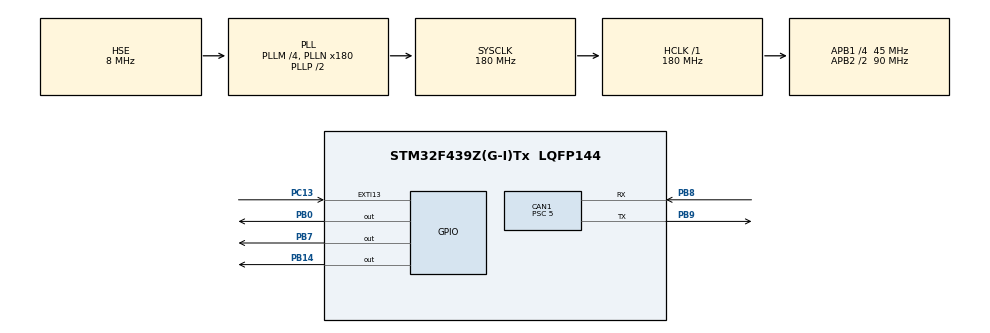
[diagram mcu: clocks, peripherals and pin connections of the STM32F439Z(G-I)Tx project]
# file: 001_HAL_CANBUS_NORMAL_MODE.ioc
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CAN1.ABOM=ENABLE
CAN1.BS1=CAN_BS1_15TQ
CAN1.BS2=CAN_BS2_2TQ
CAN1.CalculateBaudRate=500000
CAN1.CalculateTimeBit=1999.99
CAN1.CalculateTimeQuantum=111.11111111111111
CAN1.NART=ENABLE
CAN1.Prescaler=5
Mcu.Family=STM32F4
Mcu.Name=STM32F439Z(G-I)Tx
Mcu.Package=LQFP144
NVIC.EXTI15_10_IRQn=true\:0\:0\:false\:false\:true\:true\:true
NVIC.PriorityGroup=NVIC_PRIORITYGROUP_4
NVIC.TIM8_TRG_COM_TIM14_IRQn=true\:15\:0\:false\:false\:true\:false\:true
NVIC.TimeBase=TIM8_TRG_COM_TIM14_IRQn
NVIC.TimeBaseIP=TIM14
PB0.Signal=GPIO_Output
PB14.Signal=GPIO_Output
PB7.Signal=GPIO_Output
PB8.Mode=CAN_Activate
PB8.Signal=CAN1_RX
PB9.Mode=CAN_Activate
PB9.Signal=CAN1_TX
PC13.Signal=GPXTI13
PH0/OSC_IN.Mode=HSE-External-Oscillator
PH0/OSC_IN.Signal=RCC_OSC_IN
PH1/OSC_OUT.Mode=HSE-External-Oscillator
PH1/OSC_OUT.Signal=RCC_OSC_OUT
ProjectManager.HeapSize=0x200
ProjectManager.StackSize=0x400
ProjectManager.TargetToolchain=TrueSTUDIO
RCC.48MHZClocksFreq_Value=51428571.428571425
RCC.AHBFreq_Value=180000000
RCC.APB1CLKDivider=RCC_HCLK_DIV4
RCC.APB1Freq_Value=45000000
RCC.APB1TimFreq_Value=90000000
RCC.APB2CLKDivider=RCC_HCLK_DIV2
RCC.APB2Freq_Value=90000000
RCC.APB2TimFreq_Value=180000000
RCC.CortexFreq_Value=180000000
RCC.HCLKFreq_Value=180000000
RCC.HSE_VALUE=8000000
RCC.HSI_VALUE=16000000
RCC.LSE_VALUE=32768
RCC.PLLM=4
RCC.PLLMUL=RCC_PLL_MUL9
RCC.PLLN=180
RCC.PLLQ=7
RCC.PLLSourceVirtual=RCC_PLLSOURCE_HSE
RCC.PRESCALERUSB=RCC_USBCLKSOURCE_PLL_DIV1_5
RCC.SYSCLKFreq_VALUE=180000000
RCC.SYSCLKSource=RCC_SYSCLKSOURCE_PLLCLK
RCC.SYSCLKSourceVirtual=RCC_SYSCLKSOURCE_PLLCLK
RCC.USBFreq_Value=48000000
RCC.VCOOutputFreq_Value=360000000
VP_SYS_VS_tim14.Mode=TIM14
board=NUCLEO-F439ZI

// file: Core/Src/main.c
/* USER CODE BEGIN Header */
/**
  ******************************************************************************
  * @file           : main.c
  * @brief          : Main program body
  ******************************************************************************
  * @attention
  *
  * <h2><center>&copy; Copyright (c) 2021 STMicroelectronics.
  * All rights reserved.</center></h2>
  *
  * This software component is licensed by ST under BSD 3-Clause license,
  * the "License"; You may not use this file except in compliance with the
  * License. You may obtain a copy of the License at:
  *                        opensource.org/licenses/BSD-3-Clause
  *
  ******************************************************************************
  */
/* USER CODE END Header */
#include "main.h"

CAN_HandleTypeDef hcan1;

/* USER CODE BEGIN PV */
uint8_t TxData[8];
uint8_t RxData[8];
uint8_t count = 0;
/* USER CODE END PV */

void SystemClock_Config(void);
static void MX_GPIO_Init(void);
static void MX_CAN1_Init(void);
/* USER CODE BEGIN PFP */
void CAN1_Tx(uint32_t IDE, uint32_t StdId, uint32_t ExtId, uint32_t RTR, uint32_t DLC, uint8_t TxData[8]);
void CAN_Start(CAN_HandleTypeDef *hcan);
void CAN1_Rx(uint32_t RxFifo);
void CAN1_FilterConfig(uint32_t FilterActivation, uint32_t FilterBank, uint32_t FilterFIFOAssignment, uint32_t FilterMode, uint32_t FilterScale, uint32_t SlaveStartFilterBank, uint32_t FilterIdHigh, uint32_t FilterIdLow, uint32_t FilterMaskIdHigh, uint32_t FilterMaskIdLow);
/* USER CODE END PFP */

int main(void)
{

  /* MCU Configuration--------------------------------------------------------*/

  /* Reset of all peripherals, Initializes the Flash interface and the Systick. */
  HAL_Init();

  /* Configure the system clock */
  SystemClock_Config();

  /* Initialize all configured peripherals */
  MX_GPIO_Init();
  MX_CAN1_Init();
  /* USER CODE BEGIN 2 */
  CAN1_FilterConfig(CAN_FILTER_ENABLE, 0, CAN_FILTER_FIFO0, CAN_FILTERMODE_IDLIST, CAN_FILTERSCALE_32BIT, 14, 0x123, 0x0000, 0x156, 0x0000);
  if (HAL_CAN_ActivateNotification(&hcan1, CAN_IT_RX_FIFO0_MSG_PENDING) != HAL_OK)
  {
	  Error_Handler();
  }
  CAN_Start(&hcan1);
  //CAN1_Tx(CAN_ID_STD, 0x123, 0, CAN_RTR_DATA, 1, TxData);

  /* USER CODE END 2 */

  /* Infinite loop */
  while (1)
  {

  }
}

void SystemClock_Config(void)
{
  RCC_OscInitTypeDef RCC_OscInitStruct = {0};
  RCC_ClkInitTypeDef RCC_ClkInitStruct = {0};

  /** Configure the main internal regulator output voltage
  */
  __HAL_RCC_PWR_CLK_ENABLE();
  __HAL_PWR_VOLTAGESCALING_CONFIG(PWR_REGULATOR_VOLTAGE_SCALE1);
  /** Initializes the RCC Oscillators according to the specified parameters
  * in the RCC_OscInitTypeDef structure.
  */
  RCC_OscInitStruct.OscillatorType = RCC_OSCILLATORTYPE_HSE;
  RCC_OscInitStruct.HSEState = RCC_HSE_ON;
  RCC_OscInitStruct.PLL.PLLState = RCC_PLL_ON;
  RCC_OscInitStruct.PLL.PLLSource = RCC_PLLSOURCE_HSE;
  RCC_OscInitStruct.PLL.PLLM = 4;
  RCC_OscInitStruct.PLL.PLLN = 180;
  RCC_OscInitStruct.PLL.PLLP = RCC_PLLP_DIV2;
  RCC_OscInitStruct.PLL.PLLQ = 7;
  if (HAL_RCC_OscConfig(&RCC_OscInitStruct) != HAL_OK)
  {
    Error_Handler();
  }
  /** Activate the Over-Drive mode
  */
  if (HAL_PWREx_EnableOverDrive() != HAL_OK)
  {
    Error_Handler();
  }
  /** Initializes the CPU, AHB and APB buses clocks
  */
  RCC_ClkInitStruct.ClockType = RCC_CLOCKTYPE_HCLK|RCC_CLOCKTYPE_SYSCLK
                              |RCC_CLOCKTYPE_PCLK1|RCC_CLOCKTYPE_PCLK2;
  RCC_ClkInitStruct.SYSCLKSource = RCC_SYSCLKSOURCE_PLLCLK;
  RCC_ClkInitStruct.AHBCLKDivider = RCC_SYSCLK_DIV1;
  RCC_ClkInitStruct.APB1CLKDivider = RCC_HCLK_DIV4;
  RCC_ClkInitStruct.APB2CLKDivider = RCC_HCLK_DIV2;

  if (HAL_RCC_ClockConfig(&RCC_ClkInitStruct, FLASH_LATENCY_5) != HAL_OK)
  {
    Error_Handler();
  }
}

static void MX_CAN1_Init(void)
{

  hcan1.Instance = CAN1;
  hcan1.Init.Prescaler = 20;
  hcan1.Init.Mode = CAN_MODE_NORMAL;
  hcan1.Init.SyncJumpWidth = CAN_SJW_1TQ;
  hcan1.Init.TimeSeg1 = CAN_BS1_15TQ;
  hcan1.Init.TimeSeg2 = CAN_BS2_2TQ;
  hcan1.Init.TimeTriggeredMode = DISABLE;
  hcan1.Init.AutoBusOff = ENABLE;
  hcan1.Init.AutoWakeUp = DISABLE;
  hcan1.Init.AutoRetransmission = ENABLE;
  hcan1.Init.ReceiveFifoLocked = DISABLE;
  hcan1.Init.TransmitFifoPriority = DISABLE;
  if (HAL_CAN_Init(&hcan1) != HAL_OK)
  {
    Error_Handler();
  }

}

static void MX_GPIO_Init(void)
{
  GPIO_InitTypeDef GPIO_InitStruct = {0};

  /* GPIO Ports Clock Enable */
  __HAL_RCC_GPIOC_CLK_ENABLE();
  __HAL_RCC_GPIOH_CLK_ENABLE();
  __HAL_RCC_GPIOB_CLK_ENABLE();

  /*Configure GPIO pin Output Level */
  HAL_GPIO_WritePin(GPIOB, GPIO_PIN_0|GPIO_PIN_14|GPIO_PIN_7, GPIO_PIN_RESET);

  /*Configure GPIO pin : PC13 */
  GPIO_InitStruct.Pin = GPIO_PIN_13;
  GPIO_InitStruct.Mode = GPIO_MODE_IT_RISING;
  GPIO_InitStruct.Pull = GPIO_NOPULL;
  HAL_GPIO_Init(GPIOC, &GPIO_InitStruct);

  /*Configure GPIO pins : PB0 PB14 PB7 */
  GPIO_InitStruct.Pin = GPIO_PIN_0|GPIO_PIN_14|GPIO_PIN_7;
  GPIO_InitStruct.Mode = GPIO_MODE_OUTPUT_PP;
  GPIO_InitStruct.Pull = GPIO_NOPULL;
  GPIO_InitStruct.Speed = GPIO_SPEED_FREQ_LOW;
  HAL_GPIO_Init(GPIOB, &GPIO_InitStruct);

  /* EXTI interrupt init*/
  HAL_NVIC_SetPriority(EXTI15_10_IRQn, 0, 0);
  HAL_NVIC_EnableIRQ(EXTI15_10_IRQn);

}

/* USER CODE BEGIN 4 */

/**
  * @brief  CAN1 Transmission Function.
  * @param  The type of identifier for the message that will be transmitted.
  * 	    This parameter must be CAN_ID_STD or CAN_ID_EXT.
  * @param  Standard Id of the message that will be transmitted.(11 bits)
  * 	    This parameter must be a number between Min_Data = 0 and Max_Data = 0x7FF.
  * 	    If the IDE is selected as CAN_ID_EXT, it can be negligible.
  * @param  Extended Id of the message that will be transmitted.(29 bits)
  * 		This parameter must be a number between Min_Data = 0 and Max_Data = 0x1FFFFFFF.
  * 		If the IDE is selected as CAN_ID_STD, it can be negligible.
  * @param	The type of frame for the message that will be transmitted.
  * 		This parameter must be CAN_RTR_DATA (Sending a Frame) or CAN_RTR_REMOTE (Requesting a Frame).
  * @param  The length of the frame that will be transmitted (0-8 Bytes).
  * 		This parameter must be a number between Min_Data = 0 and Max_Data = 8.
  * @param  8-Bytes Frame that will be transmitted.
  * 		If the RTR is selected as CAN_RTR_REMOTE, it can be negligible.
  * @retval None
  */
void CAN1_Tx(uint32_t IDE, uint32_t StdId, uint32_t ExtId, uint32_t RTR, uint32_t DLC, uint8_t TxData[8]){

	CAN_TxHeaderTypeDef TxHeader;
	uint32_t pTxMailbox;

	TxHeader.IDE = IDE;
	TxHeader.RTR = RTR;
	TxHeader.DLC = DLC;
	if(TxHeader.IDE == CAN_ID_STD){
		TxHeader.StdId = StdId;
		TxHeader.ExtId = 0;
	}
	else if(TxHeader.IDE == CAN_ID_EXT){
		TxHeader.StdId = 0;
		TxHeader.ExtId = ExtId;
	}

    if (HAL_CAN_AddTxMessage(&hcan1, &TxHeader, TxData, &pTxMailbox) != HAL_OK)
    {
      Error_Handler();
    }
}

/**
  * @brief Start the CAN modules.
  * @param None
  * @retval None
  */
void CAN_Start(CAN_HandleTypeDef *hcan){

	if (HAL_CAN_Start(hcan) != HAL_OK)
	{
	  Error_Handler();
	}

}

/**
  * @brief CAN1 Received Frame Function.
  * @param This parameter can be CAN Receive FIFO Number.
  * @retval None
  */
void CAN1_Rx(uint32_t RxFifo){

	CAN_RxHeaderTypeDef RxHeader;

	if (HAL_CAN_GetRxMessage(&hcan1, RxFifo, &RxHeader, RxData) != HAL_OK)
	{
	  Error_Handler();
	}

	  if ((RxHeader.DLC == 1))
	  {
		  if(RxData[0] %3 == 1){
			  HAL_GPIO_WritePin(GPIOB, GPIO_PIN_0, GPIO_PIN_SET);
			  HAL_GPIO_WritePin(GPIOB, GPIO_PIN_7 | GPIO_PIN_14, GPIO_PIN_RESET);
		  }
		  else if(RxData[0] %3 == 2){
			  HAL_GPIO_WritePin(GPIOB, GPIO_PIN_7, GPIO_PIN_SET);
			  HAL_GPIO_WritePin(GPIOB, GPIO_PIN_0 | GPIO_PIN_14, GPIO_PIN_RESET);
		  }
		  else if(RxData[0] %3 == 0){
			  HAL_GPIO_WritePin(GPIOB, GPIO_PIN_14, GPIO_PIN_SET);
			  HAL_GPIO_WritePin(GPIOB, GPIO_PIN_0 | GPIO_PIN_7, GPIO_PIN_RESET);
		  }
	  }

}

/**
  * @brief  CAN1 Filter Configuration Function.
  * @param  Enable or disable the filter.
  * 	    This parameter must be CAN_FILTER_ENABLE or CAN_FILTER_DISABLE.
  * @param  Select the filter bank which will be initialized.
  *         For single CAN instance(14 dedicated filter banks),
  * 		this parameter must be a number between Min_Data = 0 and Max_Data = 13.
  * 		For dual CAN instances(28 filter banks shared),
  * 		this parameter must be a number between Min_Data = 0 and Max_Data = 27.
  * @param  Select the FIFO (0 or 1) which will be assigned to the filter.
  * 		This parameter must be CAN_FILTER_FIFO0 or CAN_FILTER_FIFO1.
  * @param	Specifies the filter mode to be initialized.
  * 		This parameter must be CAN_FILTERMODE_IDMASK or CAN_FILTERMODE_IDLIST.
  * @param  Specifies the filter scale 16-bit or 32-bit.
  * 		This parameter must be CAN_FILTERSCALE_16BIT or CAN_FILTERSCALE_32BIT
  * @param  Select the start filter bank for the slave CAN instance.
  * 		For single CAN instances, this parameter is meaningless.
  * 		For dual CAN instances, all filter banks with lower index are assigned to master
  * 		CAN instance, whereas all filter banks with greater index are assigned to slave CAN instance.
  * 		This parameter must be a number between Min_Data = 0 and Max_Data = 27.
  * @param  Specifies the filter identification number (MSBs for a 32-bit
  * 		configuration, first one for a 16-bit configuration).
  * 		This parameter must be a number between Min_Data = 0x0000 and Max_Data = 0xFFFF.
  * @param	Specifies the filter identification number (LSBs for a 32-bit.
  * 		configuration, second one for a 16-bit configuration).
  * 		This parameter must be a number between Min_Data = 0x0000 and Max_Data = 0xFFFF.
  * @param  Specifies the filter mask number or identification number,
  * 		according to the mode (MSBs for a 32-bit configuration,
  * 		first one for a 16-bit configuration).
  * 		This parameter must be a number between Min_Data = 0x0000 and Max_Data = 0xFFFF.
  * @param	Specifies the filter mask number or identification number,
  * 		according to the mode (LSBs for a 32-bit configuration,
  * 		second one for a 16-bit configuration).
  * 		This parameter must be a number between Min_Data = 0x0000 and Max_Data = 0xFFFF.
  * @retval None
  */
void CAN1_FilterConfig(uint32_t FilterActivation, uint32_t FilterBank, uint32_t FilterFIFOAssignment, uint32_t FilterMode, uint32_t FilterScale, uint32_t SlaveStartFilterBank, uint32_t FilterIdHigh, uint32_t FilterIdLow, uint32_t FilterMaskIdHigh, uint32_t FilterMaskIdLow){

	CAN_FilterTypeDef sFilterConfig;

	sFilterConfig.FilterActivation = FilterActivation;
	sFilterConfig.FilterBank = FilterBank;
	sFilterConfig.FilterFIFOAssignment = FilterFIFOAssignment;
	sFilterConfig.FilterMode = FilterMode;
	sFilterConfig.FilterScale = FilterScale;
	sFilterConfig.SlaveStartFilterBank = SlaveStartFilterBank;

	sFilterConfig.FilterIdHigh = FilterIdHigh << 5;
	sFilterConfig.FilterIdLow = FilterIdLow << 5;
	sFilterConfig.FilterMaskIdHigh = FilterMaskIdHigh << 5;
	sFilterConfig.FilterMaskIdLow = FilterMaskIdLow << 5;

	if (HAL_CAN_ConfigFilter(&hcan1, &sFilterConfig) != HAL_OK)
	{
	  Error_Handler();
	}

}

void HAL_CAN_TxMailbox0CompleteCallback(CAN_HandleTypeDef *hcan){

}
void HAL_CAN_TxMailbox1CompleteCallback(CAN_HandleTypeDef *hcan){

}
void HAL_CAN_TxMailbox2CompleteCallback(CAN_HandleTypeDef *hcan){

}
void HAL_CAN_TxMailbox0AbortCallback(CAN_HandleTypeDef *hcan){

}
void HAL_CAN_TxMailbox1AbortCallback(CAN_HandleTypeDef *hcan){

}
void HAL_CAN_TxMailbox2AbortCallback(CAN_HandleTypeDef *hcan){

}
void HAL_CAN_RxFifo0MsgPendingCallback(CAN_HandleTypeDef *hcan){

	CAN1_Rx(CAN_RX_FIFO0);

}
void HAL_CAN_RxFifo0FullCallback(CAN_HandleTypeDef *hcan){

}
void HAL_CAN_RxFifo1MsgPendingCallback(CAN_HandleTypeDef *hcan){

}
void HAL_CAN_RxFifo1FullCallback(CAN_HandleTypeDef *hcan){

}
void HAL_CAN_SleepCallback(CAN_HandleTypeDef *hcan){

}
void HAL_CAN_WakeUpFromRxMsgCallback(CAN_HandleTypeDef *hcan){

}
void HAL_CAN_ErrorCallback(CAN_HandleTypeDef *hcan){

}
/* USER CODE END 4 */

void HAL_TIM_PeriodElapsedCallback(TIM_HandleTypeDef *htim)
{
  if (htim->Instance == TIM14) {
    HAL_IncTick();
  }
}

void Error_Handler(void)
{
  __disable_irq();
  while (1)
  {
  }
}

/************************ (C) COPYRIGHT STMicroelectronics *****END OF FILE****/
